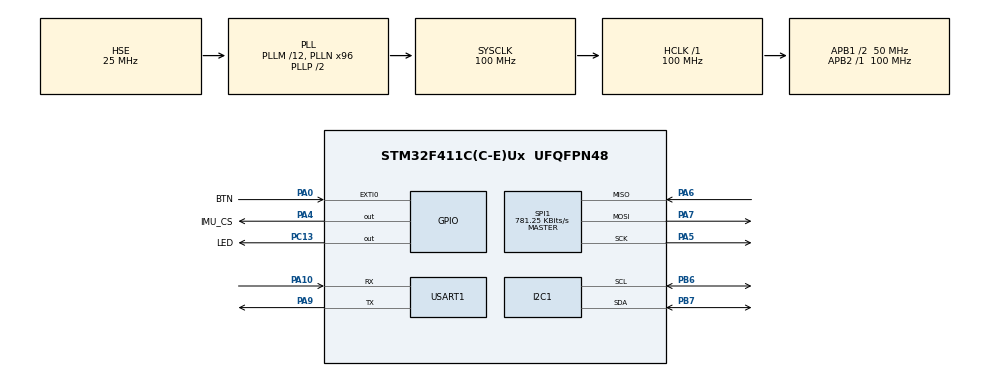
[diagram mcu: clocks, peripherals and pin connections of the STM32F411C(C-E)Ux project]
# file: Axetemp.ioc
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I2C1.I2C_Mode=I2C_Standard
Mcu.Family=STM32F4
Mcu.Name=STM32F411C(C-E)Ux
Mcu.Package=UFQFPN48
NVIC.EXTI0_IRQn=true\:0\:0\:false\:false\:true\:true\:true\:true
NVIC.PriorityGroup=NVIC_PRIORITYGROUP_4
NVIC.TIM2_IRQn=true\:0\:0\:false\:false\:true\:true\:true\:true
NVIC.USART1_IRQn=true\:0\:0\:false\:false\:true\:true\:true\:true
PA0-WKUP.GPIO_Label=BTN
PA0-WKUP.GPIO_ModeDefaultEXTI=GPIO_MODE_IT_FALLING
PA0-WKUP.GPIO_PuPd=GPIO_PULLUP
PA0-WKUP.Signal=GPXTI0
PA10.Mode=Asynchronous
PA10.Signal=USART1_RX
PA13.Mode=Serial_Wire
PA13.Signal=SYS_JTMS-SWDIO
PA14.Mode=Serial_Wire
PA14.Signal=SYS_JTCK-SWCLK
PA4.GPIO_Label=IMU_CS
PA4.GPIO_Speed=GPIO_SPEED_FREQ_HIGH
PA4.PinState=GPIO_PIN_SET
PA4.Signal=GPIO_Output
PA5.Mode=Full_Duplex_Master
PA5.Signal=SPI1_SCK
PA6.Mode=Full_Duplex_Master
PA6.Signal=SPI1_MISO
PA7.Mode=Full_Duplex_Master
PA7.Signal=SPI1_MOSI
PA9.Mode=Asynchronous
PA9.Signal=USART1_TX
PB6.Mode=I2C
PB6.Signal=I2C1_SCL
PB7.Mode=I2C
PB7.Signal=I2C1_SDA
PC13-ANTI_TAMP.GPIO_Label=LED
PC13-ANTI_TAMP.Signal=GPIO_Output
PH0\ -\ OSC_IN.Mode=HSE-External-Oscillator
PH0\ -\ OSC_IN.Signal=RCC_OSC_IN
PH1\ -\ OSC_OUT.Mode=HSE-External-Oscillator
PH1\ -\ OSC_OUT.Signal=RCC_OSC_OUT
ProjectManager.HeapSize=0x200
ProjectManager.StackSize=0x400
ProjectManager.TargetToolchain=STM32CubeIDE
RCC.48MHZClocksFreq_Value=50000000
RCC.AHBFreq_Value=100000000
RCC.APB1CLKDivider=RCC_HCLK_DIV2
RCC.APB1Freq_Value=50000000
RCC.APB1TimFreq_Value=100000000
RCC.APB2Freq_Value=100000000
RCC.APB2TimFreq_Value=100000000
RCC.CortexFreq_Value=100000000
RCC.HCLKFreq_Value=100000000
RCC.HSE_VALUE=25000000
RCC.HSI_VALUE=16000000
RCC.LSE_VALUE=32768
RCC.PLLM=12
RCC.PLLN=96
RCC.PLLSourceVirtual=RCC_PLLSOURCE_HSE
RCC.SYSCLKFreq_VALUE=100000000
RCC.SYSCLKSource=RCC_SYSCLKSOURCE_PLLCLK
RCC.VCOOutputFreq_Value=200000000
SPI1.BaudRatePrescaler=SPI_BAUDRATEPRESCALER_128
SPI1.CalculateBaudRate=781.25 KBits/s
SPI1.Direction=SPI_DIRECTION_2LINES
SPI1.Mode=SPI_MODE_MASTER
SPI1.VirtualType=VM_MASTER
TIM2.Prescaler=9599
USART1.VirtualMode=VM_ASYNC
VP_TIM2_VS_ClockSourceINT.Mode=Internal
board=custom

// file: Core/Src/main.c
/* USER CODE BEGIN Header */
/**
  ******************************************************************************
  * @file           : main.c
  * @brief          : Main program body
  ******************************************************************************
  * @attention
  *
  * Copyright (c) 2026 STMicroelectronics.
  * All rights reserved.
  *
  * This software is licensed under terms that can be found in the LICENSE file
  * in the root directory of this software component.
  * If no LICENSE file comes with this software, it is provided AS-IS.
  *
  ******************************************************************************
  */
/* USER CODE END Header */
#include "main.h"
#include "i2c.h"
#include "spi.h"
#include "tim.h"
#include "usart.h"
#include "gpio.h"

/* USER CODE BEGIN Includes */
#include <stdbool.h>
#include <stdio.h>
#include <string.h>
#include "BMP280.h"
/* USER CODE END Includes */

/* USER CODE BEGIN PD */
#define BMP280_ADDR (0x77 << 1)
/* USER CODE END PD */

void SystemClock_Config(void);

/* USER CODE BEGIN 0 */
static BMP280 bmp280_sensor;

BMP280_Config conf={
    		.mode	= BMP280_MODE_SLEEP,
			.osrs_t	= BMP280_OSRS_2X,
			.osrs_p	= BMP280_OSRS_16X,
			.filter	= BMP280_FILTER_4,
    		.standby= BMP280_STANDBY_0_5_MS
    };

static bool led_on = false;
static uint32_t led_off_timestamp = 0;
static uint8_t rx_byte = 0;

static volatile bool timer_flag = false;
static volatile bool samp_activ = false;
static volatile bool read_f = false;
static volatile bool mood_flag = false;
static volatile bool conf_f = false;

static volatile uint8_t rx_cmd_t = 0;
static volatile uint8_t rx_state = 0;

static const uint32_t inter_arr [4]={4999, 9999, 49999, 99999};
static const float inter_sec [4]={0.5f, 1.0f, 5.0f, 10.0f};
static uint8_t inter_idx = 1;

static const BMP280_Filter fil_list[5]={
		BMP280_FILTER_OFF, BMP280_FILTER_2, BMP280_FILTER_4, BMP280_FILTER_8, BMP280_FILTER_16
};
static const char *fil_nam[5] = {"OFF", "x2", "x4", "x8", "x16"};
static uint8_t fil_idx = 2;

static const BMP280_Oversampling osrs_list [5] ={
		BMP280_OSRS_1X, BMP280_OSRS_2X, BMP280_OSRS_4X, BMP280_OSRS_8X, BMP280_OSRS_16X
};

static const char *osrs_nam[5] = {"x1", "x2", "x4", "x8", "x16"};
static uint8_t osrs_idx = 1;

static int32_t I2C_Read_Adapter(void *context, uint8_t reg,
		uint8_t *data, uint16_t len)
{
	I2C_HandleTypeDef *hi2c = (I2C_HandleTypeDef*)context;
	return (HAL_I2C_Mem_Read(hi2c, BMP280_I2C_ADDR_VCC, reg,
			I2C_MEMADD_SIZE_8BIT, data, len, 100) == HAL_OK) ? 0 : -1;
}

static int32_t I2C_Write_Adapter(void *context, uint8_t reg,
		const uint8_t *data, uint16_t len)

{
	I2C_HandleTypeDef *hi2c = (I2C_HandleTypeDef*)context;
	return (HAL_I2C_Mem_Write(hi2c, BMP280_I2C_ADDR_VCC, reg,
			I2C_MEMADD_SIZE_8BIT, (uint8_t*)data, len, 100)== HAL_OK)? 0 : -1;

}

static void print_uart(const char *str)
{
	HAL_UART_Transmit(&huart1, (uint8_t*)str, strlen(str), 100);
}

static void read_send (void)
{
	float temp = 0.0f;
	float press = 0.0f;
		if (BMP280_ReadData (&bmp280_sensor, &temp, &press) == BMP280_OK)
		{

			char uart_buf[64];
			snprintf(uart_buf, sizeof(uart_buf),
					"T=%.1fC P=%.1fhPa\r\n", temp, press);
			print_uart(uart_buf);

			HAL_GPIO_WritePin(GPIOC, GPIO_PIN_13, GPIO_PIN_RESET);
			led_off_timestamp = HAL_GetTick();
			led_on = true;
		}
		else
		{

			print_uart("[ERROR] Sensor read failed!!1\r\n");
		}

}

static void read_send_fors(void)
{
		float temp = 0.0f;
		float press = 0.0f;
	if (BMP280_ReadDataForce(&bmp280_sensor, &temp, &press) == BMP280_OK)
			{

				char uart_buf[64];
				snprintf(uart_buf, sizeof(uart_buf),
						"T=%.1fC P=%.1fhPa\r\n", temp, press);
				print_uart(uart_buf);

				HAL_GPIO_WritePin(GPIOC, GPIO_PIN_13, GPIO_PIN_RESET);
				led_off_timestamp = HAL_GetTick();
				led_on = true;
			}
			else
			{

				print_uart("[ERROR] Sensor read failed!!1\r\n");
			}

	if (samp_activ)
	{
		BMP280_SetMode(&bmp280_sensor, BMP280_MODE_NORMAL);
	}

}

void HAL_TIM_PeriodElapsedCallback(TIM_HandleTypeDef *htim)
{
	if (htim->Instance == TIM2)
	{
		timer_flag = true;
	}
}

void HAL_UART_RxCpltCallback(UART_HandleTypeDef *huart)
{
    if (huart->Instance == USART1)
    {
        // Обробка цифри після I, O або F
        if (rx_state != 0)
        {
            uint8_t state = rx_state;
            rx_state = 0;

            if (state == 1 && rx_byte >= '0' && rx_byte <= '3')
            {
                inter_idx = rx_byte - '0';

                __HAL_TIM_SET_AUTORELOAD(
                    &htim2, inter_arr[inter_idx]);
                __HAL_TIM_SET_COUNTER(&htim2, 0);

                char msg[64];
                snprintf(msg, sizeof(msg),
                         "[CMD] Interval set to %.1f sec\r\n",
                         (double)inter_sec[inter_idx]);
                print_uart(msg);
            }
            else if (state == 2 && rx_byte >= '0' && rx_byte <= '4')
            {
                osrs_idx = rx_byte - '0';

                conf.osrs_t = osrs_list[osrs_idx];
                conf.osrs_p = osrs_list[osrs_idx];
                conf_f = true;

                char msg[64];
                snprintf(msg, sizeof(msg),
                         "[CMD] Oversampling set to %s\r\n",
                         osrs_nam[osrs_idx]);
                print_uart(msg);
            }
            else if (state == 3 && rx_byte >= '0' && rx_byte <= '4')
            {
                fil_idx = rx_byte - '0';

                conf.filter = fil_list[fil_idx];
                conf_f = true;

                char msg[64];
                snprintf(msg, sizeof(msg),
                         "[CMD] IIR filter set to %s\r\n",
                         fil_nam[fil_idx]);
                print_uart(msg);
            }
            else
            {
                print_uart("[ERROR] Invalid parameter\r\n");
            }
        }
        else
        {
            switch (rx_byte)
            {
                case 's':
                case 'S':
                    samp_activ = !samp_activ;
                    mood_flag = true;

                    if (samp_activ)
                        print_uart("[CMD] Auto-sampling STARTED\r\n");
                    else
                        print_uart("[CMD] Auto-sampling STOPPED\r\n");
                    break;

                case 'r':
                case 'R':
                    print_uart("[CMD] Single read requested\r\n");
                    read_f = true;
                    break;

                case 'h':
                case 'H':
                {
                    char info_buf[140];
                    snprintf(info_buf, sizeof(info_buf),
                    		"[INFO] Status: %s | Mode: %s | Filter: %s | OSRS: %s\r\n",
							samp_activ ? "RUNNING" : "STOPPED",
							samp_activ ? "NORMAL" : "SLEEP",
							fil_nam[fil_idx], osrs_nam[osrs_idx]);
                    print_uart(info_buf);
                    break;
                }

                case 'i':
                case 'I':
                    rx_state = 1;
                    break;

                case 'o':
                case 'O':
                    rx_state = 2;
                    break;

                case 'f':
                case 'F':
                    rx_state = 3;
                    break;

                default:
                    print_uart("[ERROR] Unknown command\r\n");
                    break;
            }
        }

        // Обов'язково повторно вмикаємо приймання UART
        HAL_UART_Receive_IT(&huart1, &rx_byte, 1);
    }
}

/* USER CODE END 0 */

int main(void)
{

  /* MCU Configuration--------------------------------------------------------*/

  /* Reset of all peripherals, Initializes the Flash interface and the Systick. */
  HAL_Init();

  /* Configure the system clock */
  SystemClock_Config();

  /* Initialize all configured peripherals */
  MX_GPIO_Init();
  MX_I2C1_Init();
  MX_SPI1_Init();
  MX_USART1_UART_Init();
  MX_TIM2_Init();
  /* USER CODE BEGIN 2 */
  /* USER CODE BEGIN 2 */
    HAL_Delay(250);

    bmp280_sensor.bus.context	= &hi2c1;
    bmp280_sensor.bus.read		= I2C_Read_Adapter;
    bmp280_sensor.bus.write		= I2C_Write_Adapter;

    if(BMP280_Init(&bmp280_sensor)!=BMP280_OK){
    print_uart("[FAIL]BMP Init failed! Check writing. \r \n");
    	while(1)
    		{
    			HAL_GPIO_TogglePin(GPIOC, GPIO_PIN_13);
    			HAL_Delay(100);
    	}

    }

    print_uart("[OK] Sensor initialized via modular driver! \r \n");

    BMP280_SetConfig(&bmp280_sensor, &conf);
    HAL_Delay (100);

    print_uart("[OK] Timer started, non-blocking mode active\r\n");

    HAL_UART_Receive_IT(&huart1, &rx_byte,1);
    	print_uart("[OK] UART Command Receiver Ready \r\n");

  /* USER CODE END 2 */

  /* Infinite loop */
  /* USER CODE BEGIN WHILE */
  while (1)
  {
	  if (led_on && (HAL_GetTick() - led_off_timestamp >= 50))
	        {
	            HAL_GPIO_WritePin(GPIOC, GPIO_PIN_13, GPIO_PIN_SET);
	            led_on = false;
	        }

	  	  	if (conf_f)
	  	  	{
	  	  		conf_f = false;
	  	  		conf.mode = samp_activ ? BMP280_MODE_NORMAL : BMP280_MODE_SLEEP;
	  	  		BMP280_SetConfig(&bmp280_sensor, &conf);
	  	  	}
	  	  if (mood_flag)
	  	  {
	  	      mood_flag = false;

	  	      if (samp_activ)
	  	      {
	  	          BMP280_SetMode(&bmp280_sensor, BMP280_MODE_NORMAL);
	  	          HAL_TIM_Base_Start_IT(&htim2);
	  	      }
	  	      else
	  	      {
	  	          BMP280_SetMode(&bmp280_sensor, BMP280_MODE_SLEEP);
	  	          HAL_TIM_Base_Stop_IT(&htim2);
	  	      }
	  	  }
	        if (timer_flag == true)
	        {
	        	timer_flag = false;
	          	read_send();
	        }

	        if (read_f == true)
	        {
	        	read_f = false;
	        	read_send_fors();
	        }

    /* USER CODE END WHILE */

  }
}

void SystemClock_Config(void)
{
  RCC_OscInitTypeDef RCC_OscInitStruct = {0};
  RCC_ClkInitTypeDef RCC_ClkInitStruct = {0};

  /** Configure the main internal regulator output voltage
  */
  __HAL_RCC_PWR_CLK_ENABLE();
  __HAL_PWR_VOLTAGESCALING_CONFIG(PWR_REGULATOR_VOLTAGE_SCALE1);

  /** Initializes the RCC Oscillators according to the specified parameters
  * in the RCC_OscInitTypeDef structure.
  */
  RCC_OscInitStruct.OscillatorType = RCC_OSCILLATORTYPE_HSE;
  RCC_OscInitStruct.HSEState = RCC_HSE_ON;
  RCC_OscInitStruct.PLL.PLLState = RCC_PLL_ON;
  RCC_OscInitStruct.PLL.PLLSource = RCC_PLLSOURCE_HSE;
  RCC_OscInitStruct.PLL.PLLM = 12;
  RCC_OscInitStruct.PLL.PLLN = 96;
  RCC_OscInitStruct.PLL.PLLP = RCC_PLLP_DIV2;
  RCC_OscInitStruct.PLL.PLLQ = 4;
  if (HAL_RCC_OscConfig(&RCC_OscInitStruct) != HAL_OK)
  {
    Error_Handler();
  }

  /** Initializes the CPU, AHB and APB buses clocks
  */
  RCC_ClkInitStruct.ClockType = RCC_CLOCKTYPE_HCLK|RCC_CLOCKTYPE_SYSCLK
                              |RCC_CLOCKTYPE_PCLK1|RCC_CLOCKTYPE_PCLK2;
  RCC_ClkInitStruct.SYSCLKSource = RCC_SYSCLKSOURCE_PLLCLK;
  RCC_ClkInitStruct.AHBCLKDivider = RCC_SYSCLK_DIV1;
  RCC_ClkInitStruct.APB1CLKDivider = RCC_HCLK_DIV2;
  RCC_ClkInitStruct.APB2CLKDivider = RCC_HCLK_DIV1;

  if (HAL_RCC_ClockConfig(&RCC_ClkInitStruct, FLASH_LATENCY_3) != HAL_OK)
  {
    Error_Handler();
  }
}

void Error_Handler(void)
{
  __disable_irq();
  while (1)
  {
  }
}
